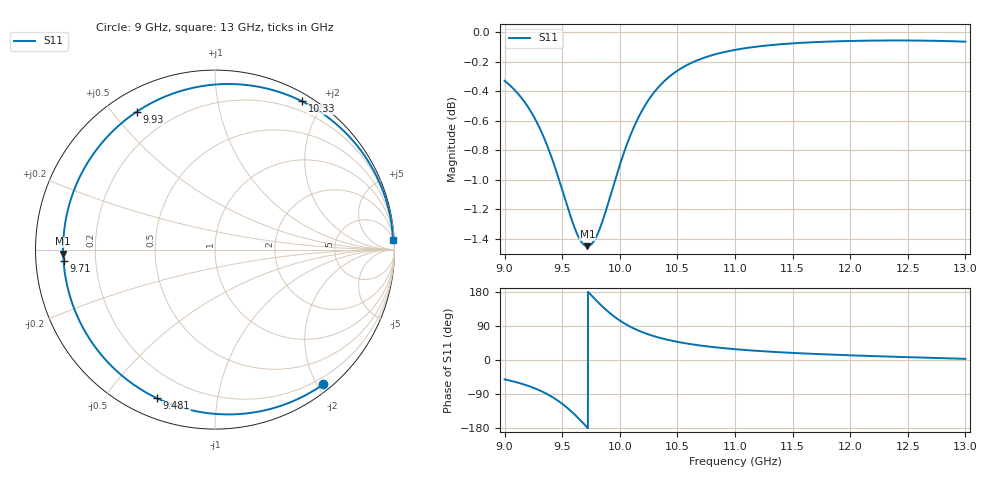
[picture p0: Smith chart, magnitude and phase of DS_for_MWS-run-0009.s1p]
! TOUCHSTONE file generated by CST DESIGN STUDIO
! Date and time: Tue Feb  4 14:00:21 2025
! Project name: C:\Work\MatlabApps\UnitCellOptimizationMatlab\CST\unitcell.cst
! Tree item: Tasks\Sweep1\SPara1\S-Parameters
! Header version: 2024
! Port assignment regex: !\s*Touchstone port\s*([0-9]+)\s*=\s*(CST MWS port|CST DES external port|CST DES block port)\s*(.+)\s* \(\"(.*)\"\)(\s*mode\s*([0-9]+))?.*
! Touchstone port assignment:
! Touchstone port 1 = CST DES external port 1 ("")
# GHz S MA R 50
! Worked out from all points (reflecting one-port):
!   4001 points, 9 GHz to 13 GHz, reference 50 ohm
!   lowest |S11| = -1.5 dB at 9.719 GHz (marker M1), VSWR 12.01, Z = 4.17 - j0.669 ohm
!   phase of S11 starts at -51 deg and turns -306 deg over the sweep
!   S11 on the Smith chart (normalised r, x): 9 GHz: 0.10, -2.08; 9.481 GHz: 0.09, -0.68; 9.71 GHz: 0.08, -0.04; 9.93 GHz: 0.08, +0.58; 10.33 GHz: 0.09, +1.74; 13 GHz: 5, +37
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9  0.9628 -51.2
9.13  0.9518 -61.1
9.253  0.9364 -73.6
9.381  0.9129 -91.9
9.433  0.901 -101.3
9.481  0.8891 -111.2
9.5  0.8842 -115.5
9.549  0.8717 -127.6
9.598  0.8604 -141.0
9.657  0.8502 -158.7
9.71  0.8463 -175.6
9.719  0.8462 -178.5
9.764  0.8484 167.1
9.811  0.855 152.4
9.871  0.8679 135.0
9.93  0.8833 119.7
10  0.9016 104.1
10.074  0.9189 90.6
10.162  0.9357 77.6
10.245  0.948 67.9
10.334  0.9579 59.6
10.5  0.9705 47.9
10.718  0.9799 37.5
11  0.9864 28.5
11.5  0.9914 18.7
12  0.9933 12.3
12.5  0.9936 7.5
13  0.9927 3.0
